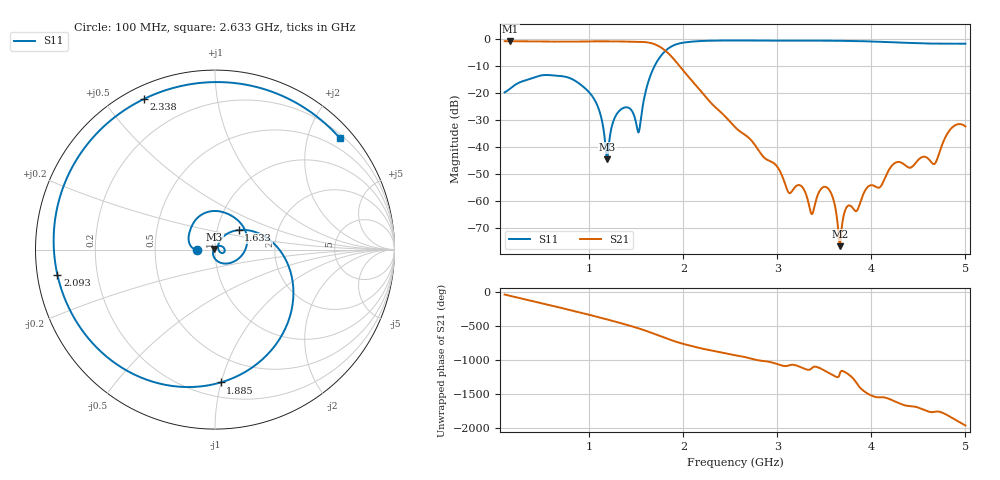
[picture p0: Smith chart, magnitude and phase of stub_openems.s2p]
! Generated by a Qucs-RFlayout generated OpenEMS script
#  Hz  S  RI  R  50
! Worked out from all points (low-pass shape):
!   800 points, 100 MHz to 5 GHz, reference 50 ohm
!   highest |S21| = -0.85 dB at 161.3 MHz (marker M1); lowest = -76.6 dB at 3.663 GHz (marker M2)
!   |S21| within 3 dB of the highest: start of sweep to 1.791 GHz
!   lowest |S11| = -44.6 dB at 1.192 GHz (marker M3), VSWR 1.01, Z = 49.6 + j0.408 ohm
!   |S11| at or under -10 dB: start of sweep to 1.695 GHz
!   S12 and S22 are empty: the file has one direction only
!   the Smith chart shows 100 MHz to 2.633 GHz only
!   S11 on the Smith chart (normalised r, x): 100 MHz: 0.81, +0.00; 1.633 GHz: 1.27, +0.28; 1.885 GHz: 0.30, -1.00; 2.093 GHz: 0.06, -0.08; 2.338 GHz: 0.05, +0.63; 2.633 GHz: 0.27, +2.59
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1e8  -0.1026 0.00034  0.764 -0.4873  0 0  0 0
1.613267e8  -0.1215 0.00635  0.5513 -0.7195  0 0  0 0
5.476846e8  0.00155 0.2152  -0.8917 -0.0142  0 0  0 0
9.217772e8  0.1257 -0.0545  0.5017 0.7402  0 0  0 0
1.191615e9  -0.00426 0.00411  0.6828 -0.5841  0 0  0 0
1.381727e9  0.0542 -0.00247  -0.3536 -0.8176  0 0  0 0
1.522778e9  0.0184 0.00325  -0.8731 -0.1329  0 0  0 0
1.633166e9  0.1322 0.109  -0.6233 0.5827  0 0  0 0
1.737422e9  0.412 -0.0969  0.0873 0.7313  0 0  0 0
1.884606e9  0.0315 -0.7404  0.4475 0.0612  0 0  0 0
2.093116e9  -0.8779 -0.1414  0.0446 -0.1622  0 0  0 0
2.338423e9  -0.3976 0.8383  -0.0473 -0.0283  0 0  0 0
2.553066e9  0.457 0.815  -0.0202 0.0112  0 0  0 0
2.632791e9  0.695 0.6218  -0.0119 0.0135  0 0  0 0
2.939424e9  0.8241 -0.428  0.00377 0.00381  0 0  0 0
3.368711e9  -0.492 -0.7868  0.000456 -0.000355  0 0  0 0
3.534293e9  -0.8645 -0.334  -0.000327 -0.00173  0 0  0 0
3.663079e9  -0.9129 0.1291  -9.4e-05 -0.000115  0 0  0 0
4.184355e9  0.5756 0.6552  -0.00247 -0.00281  0 0  0 0
4.417397e9  0.8231 -0.1693  -0.00204 0.00366  0 0  0 0
4.662703e9  0.1292 -0.8083  0.0041 0.00261  0 0  0 0
5e9  -0.8109 0.0776  -0.0235 -0.0057  0 0  0 0
